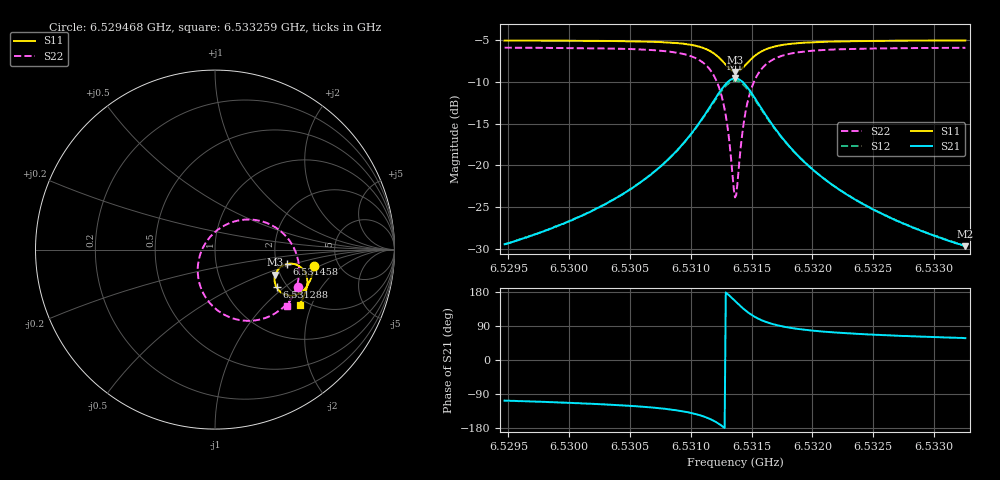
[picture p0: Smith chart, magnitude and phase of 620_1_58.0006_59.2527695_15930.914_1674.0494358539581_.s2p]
#  HZ  S  RI  R  50.00
! Rohde & Schwarz Vector Network Analyzer
! Rohde-Schwarz,ZNB20-2Port,1311601062101988,3.16
! Created: UTC 3/21/2024, 1:18:05 AM
! freq[Hz]  re:S11  im:S11  re:S21  im:S21  re:S12  im:S12  re:S22  im:S22
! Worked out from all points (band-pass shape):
!   401 points, 6.529468 GHz to 6.533259 GHz, reference 50 ohm
!   highest |S21| = -9.56 dB at 6.531364 GHz (marker M1); lowest = -29.7 dB at 6.533259 GHz (marker M2)
!   |S21| within 3 dB of the highest: 6.531176 GHz to 6.531555 GHz (378.9 kHz wide, 0.0058 % of centre)
!   lowest |S11| = -8.8 dB at 6.531364 GHz (marker M3), VSWR 2.15, Z = 94.4 - j30.3 ohm
!   |S11| at or under -10 dB: nowhere
!   |S22| runs from -23.8 to -5.9 dB; largest |S21 - S12| = 0.014
!   S11 on the Smith chart (normalised r, x): 6.529468 GHz: 3.29, -0.88; 6.531288 GHz: 1.76, -0.88; 6.531458 GHz: 2.27, -0.44; 6.533259 GHz: 1.83, -1.64
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6.5294683e9  0.5529 -0.0917  -0.00992 -0.0322  -0.0106 -0.032  0.4632 -0.2101
6.5301032e9  0.54 -0.1453  -0.0207 -0.0453  -0.0218 -0.045  0.4275 -0.2695
6.5304254e9  0.5286 -0.1758  -0.0327 -0.0577  -0.0342 -0.0569  0.3954 -0.3074
6.5307382e9  0.5084 -0.2106  -0.0584 -0.0772  -0.0607 -0.0752  0.3373 -0.354
6.5309656e9  0.477 -0.2405  -0.105 -0.097  -0.1079 -0.0931  0.2436 -0.3911
6.5311267e9  0.4274 -0.2567  -0.1822 -0.099  -0.184 -0.0911  0.104 -0.3847
6.5312215e9  0.3779 -0.2453  -0.2579 -0.062  -0.2554 -0.0511  -0.0197 -0.3079
6.5312594e9  0.3565 -0.2284  -0.2892 -0.027  -0.2836 -0.0156  -0.0657 -0.2427
6.5312878e9  0.3427 -0.2094  -0.3079 0.00981  -0.2994 0.0202  -0.0891 -0.178
6.5313163e9  0.3338 -0.1852  -0.3174 0.0546  -0.3065 0.0627  -0.0962 -0.1029
6.5313447e9  0.3325 -0.1578  -0.3143 0.1034  -0.3018 0.1087  -0.0815 -0.0237
6.5313637e9  0.3365 -0.1392  -0.3038 0.1355  -0.2912 0.1385  -0.0586 0.0267
6.5313826e9  0.3442 -0.1222  -0.2873 0.1652  -0.2749 0.1657  -0.0263 0.0718
6.5314205e9  0.3688 -0.0952  -0.2408 0.2103  -0.2304 0.2076  0.058 0.1372
6.5314584e9  0.3986 -0.081  -0.1866 0.2334  -0.1794 0.2292  0.151 0.1656
6.5315248e9  0.446 -0.0817  -0.1046 0.2324  -0.1012 0.2285  0.2875 0.1489
6.5316195e9  0.4865 -0.1063  -0.0357 0.1957  -0.0341 0.1936  0.398 0.0717
6.5317617e9  0.5093 -0.1447  0.00466 0.1434  0.00573 0.1426  0.4561 -0.033
6.5319986e9  0.5144 -0.1894  0.0204 0.0929  0.0215 0.0927  0.468 -0.1364
6.5322829e9  0.5078 -0.2253  0.0222 0.0631  0.0233 0.063  0.4557 -0.2039
6.5326336e9  0.496 -0.2586  0.0206 0.0444  0.0214 0.0439  0.4355 -0.2543
6.533259e9  0.4708 -0.3068  0.0175 0.0277  0.0181 0.0275  0.4003 -0.3123
